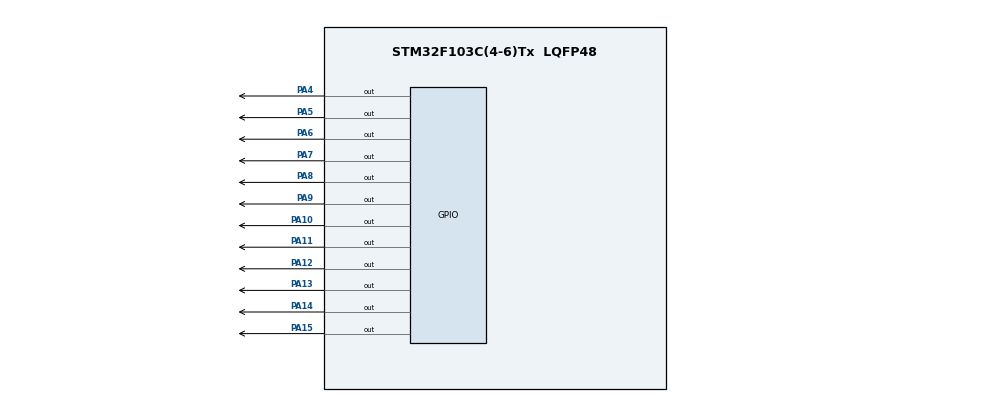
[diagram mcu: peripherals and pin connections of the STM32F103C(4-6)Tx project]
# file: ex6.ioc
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Mcu.Family=STM32F1
Mcu.Name=STM32F103C(4-6)Tx
Mcu.Package=LQFP48
NVIC.PriorityGroup=NVIC_PRIORITYGROUP_4
PA10.Signal=GPIO_Output
PA11.Signal=GPIO_Output
PA12.Signal=GPIO_Output
PA13.Signal=GPIO_Output
PA14.Signal=GPIO_Output
PA15.Signal=GPIO_Output
PA4.Signal=GPIO_Output
PA5.Signal=GPIO_Output
PA6.Signal=GPIO_Output
PA7.Signal=GPIO_Output
PA8.Signal=GPIO_Output
PA9.Signal=GPIO_Output
ProjectManager.HeapSize=0x200
ProjectManager.StackSize=0x400
ProjectManager.TargetToolchain=STM32CubeIDE
RCC.APB1Freq_Value=8000000
RCC.APB2Freq_Value=8000000
board=custom

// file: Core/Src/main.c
/* USER CODE BEGIN Header */
/**
  ******************************************************************************
  * @file           : main.c
  * @brief          : Main program body
  ******************************************************************************
  * @attention
  *
  * Copyright (c) 2023 STMicroelectronics.
  * All rights reserved.
  *
  * This software is licensed under terms that can be found in the LICENSE file
  * in the root directory of this software component.
  * If no LICENSE file comes with this software, it is provided AS-IS.
  *
  ******************************************************************************
  */
/* USER CODE END Header */
#include "main.h"

void SystemClock_Config(void);
static void MX_GPIO_Init(void);

/* USER CODE BEGIN 0 */
int led_state[12] = {1,1,1,1,1,1,1,1,1,1,1,1};// state array of 12 led (1 is turn off , 0 is turn on)

void display_clock(){
	HAL_GPIO_WritePin(GPIOA,GPIO_PIN_4,led_state[0]);
	HAL_GPIO_WritePin(GPIOA,GPIO_PIN_5,led_state[1]);
	HAL_GPIO_WritePin(GPIOA,GPIO_PIN_6,led_state[2]);
	HAL_GPIO_WritePin(GPIOA,GPIO_PIN_7,led_state[3]);
	HAL_GPIO_WritePin(GPIOA,GPIO_PIN_8,led_state[4]);
	HAL_GPIO_WritePin(GPIOA,GPIO_PIN_9,led_state[5]);
	HAL_GPIO_WritePin(GPIOA,GPIO_PIN_10,led_state[6]);
	HAL_GPIO_WritePin(GPIOA,GPIO_PIN_11,led_state[7]);
	HAL_GPIO_WritePin(GPIOA,GPIO_PIN_12,led_state[8]);
	HAL_GPIO_WritePin(GPIOA,GPIO_PIN_13,led_state[9]);
	HAL_GPIO_WritePin(GPIOA,GPIO_PIN_14,led_state[10]);
	HAL_GPIO_WritePin(GPIOA,GPIO_PIN_15,led_state[11]);
}

void clearAllClock(){
	for (int i = 0; i < 12; i++) {

		led_state[i] = 1;
	}
	display_clock(); // Update the display
}

void setNumberOnClock(int num){
	if (num >= 0 && num < 12) {
		led_state[num] = 0;
		display_clock(); // Update the display
	}
}
void clearNumberOnClock(int num) {
    if (num >= 0 && num < 12) {
        led_state[num] = 1;
        display_clock(); // Update the display
    }
}
/* USER CODE END 0 */

int main(void)
{

  /* MCU Configuration--------------------------------------------------------*/

  /* Reset of all peripherals, Initializes the Flash interface and the Systick. */
  HAL_Init();

  /* Configure the system clock */
  SystemClock_Config();

  /* Initialize all configured peripherals */
  MX_GPIO_Init();

  /* Infinite loop */
  /* USER CODE BEGIN WHILE */
  int counter = 0;
  while (1)
  {
	  led_state[counter] = 0;
	  display_clock();
	  led_state[counter] = 1;
	  counter++;

	  if (counter == 12) {
		  counter = 0;
	  }

	  HAL_Delay(1000);
    /* USER CODE END WHILE */

  }
}

void SystemClock_Config(void)
{
  RCC_OscInitTypeDef RCC_OscInitStruct = {0};
  RCC_ClkInitTypeDef RCC_ClkInitStruct = {0};

  /** Initializes the RCC Oscillators according to the specified parameters
  * in the RCC_OscInitTypeDef structure.
  */
  RCC_OscInitStruct.OscillatorType = RCC_OSCILLATORTYPE_HSI;
  RCC_OscInitStruct.HSIState = RCC_HSI_ON;
  RCC_OscInitStruct.HSICalibrationValue = RCC_HSICALIBRATION_DEFAULT;
  RCC_OscInitStruct.PLL.PLLState = RCC_PLL_NONE;
  if (HAL_RCC_OscConfig(&RCC_OscInitStruct) != HAL_OK)
  {
    Error_Handler();
  }

  /** Initializes the CPU, AHB and APB buses clocks
  */
  RCC_ClkInitStruct.ClockType = RCC_CLOCKTYPE_HCLK|RCC_CLOCKTYPE_SYSCLK
                              |RCC_CLOCKTYPE_PCLK1|RCC_CLOCKTYPE_PCLK2;
  RCC_ClkInitStruct.SYSCLKSource = RCC_SYSCLKSOURCE_HSI;
  RCC_ClkInitStruct.AHBCLKDivider = RCC_SYSCLK_DIV1;
  RCC_ClkInitStruct.APB1CLKDivider = RCC_HCLK_DIV1;
  RCC_ClkInitStruct.APB2CLKDivider = RCC_HCLK_DIV1;

  if (HAL_RCC_ClockConfig(&RCC_ClkInitStruct, FLASH_LATENCY_0) != HAL_OK)
  {
    Error_Handler();
  }
}

static void MX_GPIO_Init(void)
{
  GPIO_InitTypeDef GPIO_InitStruct = {0};

  /* GPIO Ports Clock Enable */
  __HAL_RCC_GPIOA_CLK_ENABLE();

  /*Configure GPIO pin Output Level */
  HAL_GPIO_WritePin(GPIOA, GPIO_PIN_4|GPIO_PIN_5|GPIO_PIN_6|GPIO_PIN_7
                          |GPIO_PIN_8|GPIO_PIN_9|GPIO_PIN_10|GPIO_PIN_11
                          |GPIO_PIN_12|GPIO_PIN_13|GPIO_PIN_14|GPIO_PIN_15, GPIO_PIN_RESET);

  /*Configure GPIO pins : PA4 PA5 PA6 PA7
                           PA8 PA9 PA10 PA11
                           PA12 PA13 PA14 PA15 */
  GPIO_InitStruct.Pin = GPIO_PIN_4|GPIO_PIN_5|GPIO_PIN_6|GPIO_PIN_7
                          |GPIO_PIN_8|GPIO_PIN_9|GPIO_PIN_10|GPIO_PIN_11
                          |GPIO_PIN_12|GPIO_PIN_13|GPIO_PIN_14|GPIO_PIN_15;
  GPIO_InitStruct.Mode = GPIO_MODE_OUTPUT_PP;
  GPIO_InitStruct.Pull = GPIO_NOPULL;
  GPIO_InitStruct.Speed = GPIO_SPEED_FREQ_LOW;
  HAL_GPIO_Init(GPIOA, &GPIO_InitStruct);

}

void Error_Handler(void)
{
  __disable_irq();
  while (1)
  {
  }
}
